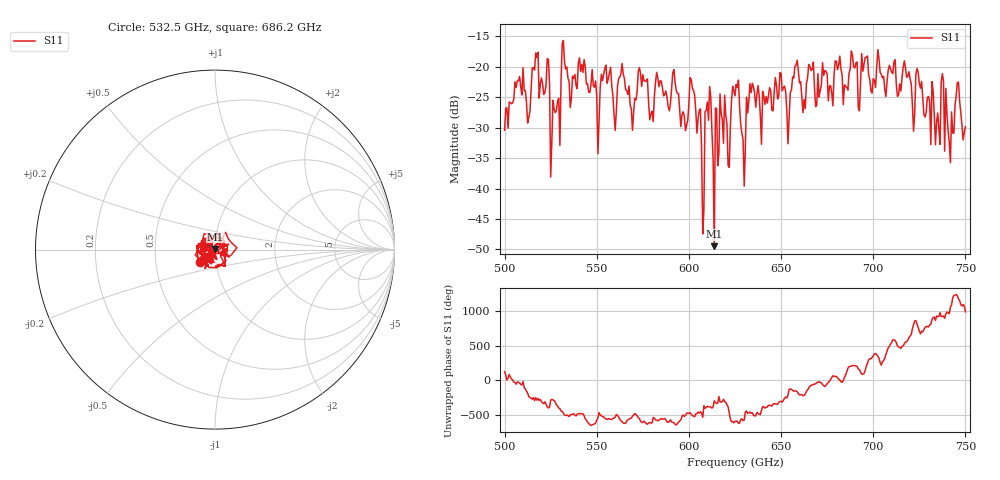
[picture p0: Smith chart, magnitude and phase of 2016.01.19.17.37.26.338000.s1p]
!Created with skrf (http://scikit-rf.org).
# GHz S RI R 50.0
!freq ReS11 ImS11
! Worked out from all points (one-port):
!   401 points, 500 GHz to 750 GHz, reference 50 ohm
!   lowest |S11| = -49.5 dB at 613.8 GHz (marker M1), VSWR 1.01, Z = 50.1 + j0.311 ohm
!   |S11| at or under -10 dB: start of sweep to end of sweep
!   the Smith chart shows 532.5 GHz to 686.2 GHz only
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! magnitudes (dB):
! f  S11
! 500 GHz  -30.4
! 506.9 GHz  -22.3
! 513.1 GHz  -28.3
! 516.9 GHz  -17.7
! 523.1 GHz  -18.6
! 526.2 GHz  -25.5
! 531.2 GHz  -16.2
! 550 GHz  -25.0
! 562.5 GHz  -21.7
! 569.4 GHz  -30.4
! 573.8 GHz  -21.1
! 579.4 GHz  -27.8
! 593.8 GHz  -24.4
! 598.1 GHz  -30.5
! 601.9 GHz  -23.5
! 606.9 GHz  -33.7
! 610.6 GHz  -28.8
! 613.8 GHz  -49.5
! 618.1 GHz  -28.6
! 621.9 GHz  -36.5
! 625 GHz  -24.8
! 629.4 GHz  -32.0
! 634.4 GHz  -22.7
! 653.8 GHz  -32.6
! 656.2 GHz  -21.7
! 687.5 GHz  -20.4
! 718.8 GHz  -21.6
! 750 GHz  -29.8
